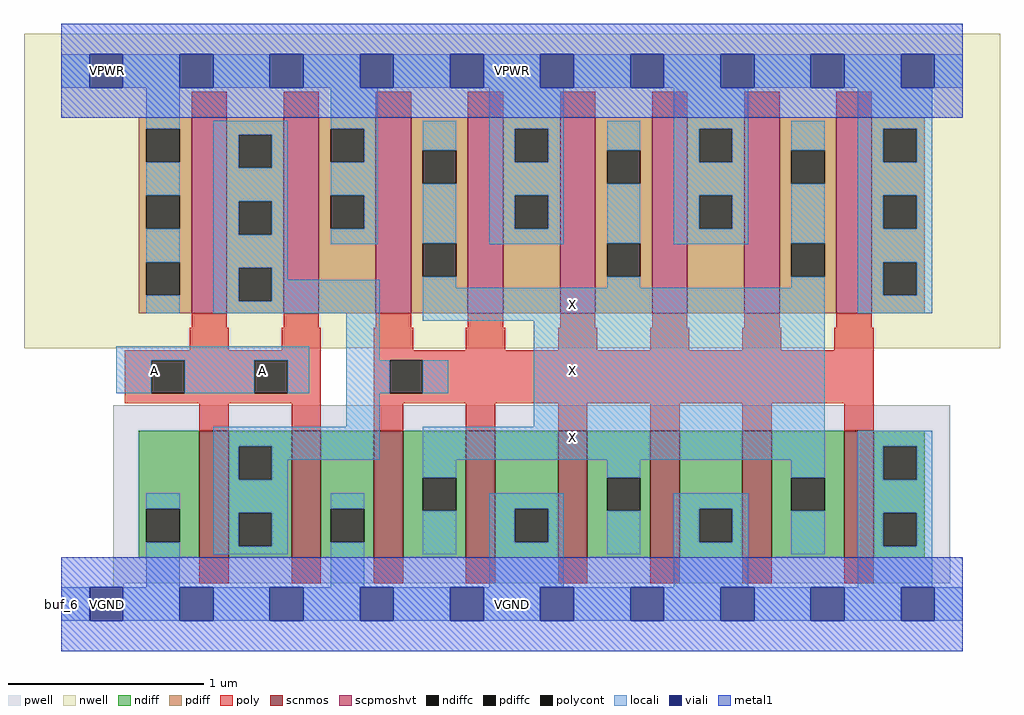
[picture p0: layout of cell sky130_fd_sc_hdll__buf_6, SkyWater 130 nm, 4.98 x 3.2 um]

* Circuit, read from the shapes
.subckt sky130_fd_sc_hdll__buf_6 A VGND VNB VPB VPWR X
XM1 n1 A VGND VNB sky130_fd_pr__nfet_01v8 w=0.65 l=0.15 m=2
XM2 X n1 VGND VNB sky130_fd_pr__nfet_01v8 w=0.65 l=0.15 m=6
XM3 n1 A VPWR VPB sky130_fd_pr__pfet_01v8_hvt w=1 l=0.18 m=2
XM4 X n1 VPWR VPB sky130_fd_pr__pfet_01v8_hvt w=1 l=0.18 m=6
.ends

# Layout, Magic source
magic
tech sky130A
magscale 1 2
<< nwell >>
rect -38 261 958 582
<< pwell >>
rect 53 21 907 203
rect 53 17 64 21
rect 30 -17 64 17
<< scnmos >>
rect 141 47 171 177
rect 235 47 265 177
rect 319 47 349 177
rect 413 47 443 177
rect 507 47 537 177
rect 601 47 631 177
rect 695 47 725 177
rect 799 47 829 177
<< scpmoshvt >>
rect 133 297 169 497
rect 227 297 263 497
rect 321 297 357 497
rect 415 297 451 497
rect 509 297 545 497
rect 603 297 639 497
rect 697 297 733 497
rect 791 297 827 497
<< ndiff >>
rect 79 97 141 177
rect 79 63 87 97
rect 121 63 141 97
rect 79 47 141 63
rect 171 161 235 177
rect 171 127 181 161
rect 215 127 235 161
rect 171 93 235 127
rect 171 59 181 93
rect 215 59 235 93
rect 171 47 235 59
rect 265 97 319 177
rect 265 63 275 97
rect 309 63 319 97
rect 265 47 319 63
rect 349 129 413 177
rect 349 95 369 129
rect 403 95 413 129
rect 349 47 413 95
rect 443 97 507 177
rect 443 63 463 97
rect 497 63 507 97
rect 443 47 507 63
rect 537 129 601 177
rect 537 95 557 129
rect 591 95 601 129
rect 537 47 601 95
rect 631 97 695 177
rect 631 63 651 97
rect 685 63 695 97
rect 631 47 695 63
rect 725 129 799 177
rect 725 95 745 129
rect 779 95 799 129
rect 725 47 799 95
rect 829 161 881 177
rect 829 127 839 161
rect 873 127 881 161
rect 829 93 881 127
rect 829 59 839 93
rect 873 59 881 93
rect 829 47 881 59
<< pdiff >>
rect 79 485 133 497
rect 79 451 87 485
rect 121 451 133 485
rect 79 417 133 451
rect 79 383 87 417
rect 121 383 133 417
rect 79 349 133 383
rect 79 315 87 349
rect 121 315 133 349
rect 79 297 133 315
rect 169 479 227 497
rect 169 445 181 479
rect 215 445 227 479
rect 169 411 227 445
rect 169 377 181 411
rect 215 377 227 411
rect 169 343 227 377
rect 169 309 181 343
rect 215 309 227 343
rect 169 297 227 309
rect 263 485 321 497
rect 263 451 275 485
rect 309 451 321 485
rect 263 417 321 451
rect 263 383 275 417
rect 309 383 321 417
rect 263 297 321 383
rect 357 463 415 497
rect 357 429 369 463
rect 403 429 415 463
rect 357 368 415 429
rect 357 334 369 368
rect 403 334 415 368
rect 357 297 415 334
rect 451 485 509 497
rect 451 451 463 485
rect 497 451 509 485
rect 451 417 509 451
rect 451 383 463 417
rect 497 383 509 417
rect 451 297 509 383
rect 545 463 603 497
rect 545 429 557 463
rect 591 429 603 463
rect 545 368 603 429
rect 545 334 557 368
rect 591 334 603 368
rect 545 297 603 334
rect 639 485 697 497
rect 639 451 651 485
rect 685 451 697 485
rect 639 417 697 451
rect 639 383 651 417
rect 685 383 697 417
rect 639 297 697 383
rect 733 463 791 497
rect 733 429 745 463
rect 779 429 791 463
rect 733 368 791 429
rect 733 334 745 368
rect 779 334 791 368
rect 733 297 791 334
rect 827 485 881 497
rect 827 451 839 485
rect 873 451 881 485
rect 827 417 881 451
rect 827 383 839 417
rect 873 383 881 417
rect 827 349 881 383
rect 827 315 839 349
rect 873 315 881 349
rect 827 297 881 315
<< ndiffc >>
rect 87 63 121 97
rect 181 127 215 161
rect 181 59 215 93
rect 275 63 309 97
rect 369 95 403 129
rect 463 63 497 97
rect 557 95 591 129
rect 651 63 685 97
rect 745 95 779 129
rect 839 127 873 161
rect 839 59 873 93
<< pdiffc >>
rect 87 451 121 485
rect 87 383 121 417
rect 87 315 121 349
rect 181 445 215 479
rect 181 377 215 411
rect 181 309 215 343
rect 275 451 309 485
rect 275 383 309 417
rect 369 429 403 463
rect 369 334 403 368
rect 463 451 497 485
rect 463 383 497 417
rect 557 429 591 463
rect 557 334 591 368
rect 651 451 685 485
rect 651 383 685 417
rect 745 429 779 463
rect 745 334 779 368
rect 839 451 873 485
rect 839 383 873 417
rect 839 315 873 349
<< poly >>
rect 133 497 169 523
rect 227 497 263 523
rect 321 497 357 523
rect 415 497 451 523
rect 509 497 545 523
rect 603 497 639 523
rect 697 497 733 523
rect 791 497 827 523
rect 133 282 169 297
rect 227 282 263 297
rect 321 282 357 297
rect 415 282 451 297
rect 509 282 545 297
rect 603 282 639 297
rect 697 282 733 297
rect 791 282 827 297
rect 131 259 171 282
rect 225 259 265 282
rect 65 249 265 259
rect 65 215 92 249
rect 126 215 197 249
rect 231 215 265 249
rect 65 205 265 215
rect 141 177 171 205
rect 235 177 265 205
rect 319 259 359 282
rect 413 259 453 282
rect 507 259 547 282
rect 601 259 641 282
rect 695 259 735 282
rect 789 259 829 282
rect 319 249 829 259
rect 319 215 335 249
rect 369 215 829 249
rect 319 205 829 215
rect 319 177 349 205
rect 413 177 443 205
rect 507 177 537 205
rect 601 177 631 205
rect 695 177 725 205
rect 799 177 829 205
rect 141 21 171 47
rect 235 21 265 47
rect 319 21 349 47
rect 413 21 443 47
rect 507 21 537 47
rect 601 21 631 47
rect 695 21 725 47
rect 799 21 829 47
<< polycont >>
rect 92 215 126 249
rect 197 215 231 249
rect 335 215 369 249
<< locali >>
rect 0 527 29 561
rect 63 527 121 561
rect 155 527 213 561
rect 247 527 305 561
rect 339 527 397 561
rect 431 527 489 561
rect 523 527 581 561
rect 615 527 673 561
rect 707 527 765 561
rect 799 527 857 561
rect 891 527 920 561
rect 87 485 121 527
rect 87 417 121 451
rect 87 349 121 383
rect 87 297 121 315
rect 155 479 231 493
rect 155 445 181 479
rect 215 445 231 479
rect 155 411 231 445
rect 155 377 181 411
rect 215 377 231 411
rect 155 343 231 377
rect 275 485 323 527
rect 309 451 323 485
rect 275 417 323 451
rect 309 383 323 417
rect 275 367 323 383
rect 369 463 403 493
rect 369 368 403 429
rect 155 309 181 343
rect 215 331 231 343
rect 437 485 513 527
rect 437 451 463 485
rect 497 451 513 485
rect 437 417 513 451
rect 437 383 463 417
rect 497 383 513 417
rect 437 367 513 383
rect 557 463 591 493
rect 557 368 591 429
rect 215 309 325 331
rect 155 297 325 309
rect 56 249 253 263
rect 56 215 92 249
rect 126 215 197 249
rect 231 215 253 249
rect 291 249 325 297
rect 369 323 403 334
rect 625 485 701 527
rect 625 451 651 485
rect 685 451 701 485
rect 625 417 701 451
rect 625 383 651 417
rect 685 383 701 417
rect 625 367 701 383
rect 745 463 779 493
rect 745 368 779 429
rect 557 323 591 334
rect 745 323 779 334
rect 369 289 779 323
rect 813 485 889 527
rect 813 451 839 485
rect 873 451 889 485
rect 813 417 889 451
rect 813 383 839 417
rect 873 383 889 417
rect 813 349 889 383
rect 813 315 839 349
rect 873 315 889 349
rect 813 297 889 315
rect 291 215 335 249
rect 369 215 395 249
rect 291 181 325 215
rect 482 181 779 289
rect 155 161 325 181
rect 155 127 181 161
rect 215 147 325 161
rect 369 147 779 181
rect 215 127 231 147
rect 87 97 121 113
rect 87 17 121 63
rect 155 93 231 127
rect 369 129 403 147
rect 155 59 181 93
rect 215 59 231 93
rect 155 51 231 59
rect 275 97 309 113
rect 275 17 309 63
rect 557 129 591 147
rect 369 51 403 95
rect 437 97 513 113
rect 437 63 463 97
rect 497 63 513 97
rect 437 17 513 63
rect 745 129 779 147
rect 557 51 591 95
rect 625 97 701 113
rect 625 63 651 97
rect 685 63 701 97
rect 625 17 701 63
rect 745 51 779 95
rect 813 161 889 177
rect 813 127 839 161
rect 873 127 889 161
rect 813 93 889 127
rect 813 59 839 93
rect 873 59 889 93
rect 813 17 889 59
rect 0 -17 29 17
rect 63 -17 121 17
rect 155 -17 213 17
rect 247 -17 305 17
rect 339 -17 397 17
rect 431 -17 489 17
rect 523 -17 581 17
rect 615 -17 673 17
rect 707 -17 765 17
rect 799 -17 857 17
rect 891 -17 920 17
<< viali >>
rect 29 527 63 561
rect 121 527 155 561
rect 213 527 247 561
rect 305 527 339 561
rect 397 527 431 561
rect 489 527 523 561
rect 581 527 615 561
rect 673 527 707 561
rect 765 527 799 561
rect 857 527 891 561
rect 29 -17 63 17
rect 121 -17 155 17
rect 213 -17 247 17
rect 305 -17 339 17
rect 397 -17 431 17
rect 489 -17 523 17
rect 581 -17 615 17
rect 673 -17 707 17
rect 765 -17 799 17
rect 857 -17 891 17
<< metal1 >>
rect 0 561 920 592
rect 0 527 29 561
rect 63 527 121 561
rect 155 527 213 561
rect 247 527 305 561
rect 339 527 397 561
rect 431 527 489 561
rect 523 527 581 561
rect 615 527 673 561
rect 707 527 765 561
rect 799 527 857 561
rect 891 527 920 561
rect 0 496 920 527
rect 0 17 920 48
rect 0 -17 29 17
rect 63 -17 121 17
rect 155 -17 213 17
rect 247 -17 305 17
rect 339 -17 397 17
rect 431 -17 489 17
rect 523 -17 581 17
rect 615 -17 673 17
rect 707 -17 765 17
rect 799 -17 857 17
rect 891 -17 920 17
rect 0 -48 920 -17
<< labels >>
flabel metal1 s 30 527 64 561 0 FreeSans 200 0 0 0 VPWR
port 5 nsew power bidirectional
flabel metal1 s 30 -17 64 17 0 FreeSans 200 0 0 0 VGND
port 2 nsew ground bidirectional
flabel locali s 505 221 539 255 0 FreeSans 200 0 0 0 X
port 6 nsew signal output
flabel locali s 505 289 539 323 0 FreeSans 200 0 0 0 X
port 6 nsew signal output
flabel locali s 505 153 539 187 0 FreeSans 200 0 0 0 X
port 6 nsew signal output
flabel locali s 30 527 64 561 0 FreeSans 200 0 0 0 VPWR
port 5 nsew power bidirectional
flabel locali s 30 -17 64 17 0 FreeSans 200 0 0 0 VGND
port 2 nsew ground bidirectional
flabel locali s 188 221 222 255 0 FreeSans 200 0 0 0 A
port 1 nsew signal input
flabel locali s 78 221 112 255 0 FreeSans 200 0 0 0 A
port 1 nsew signal input
flabel nwell s 30 527 64 561 0 FreeSans 200 0 0 0 VPB
port 4 nsew power bidirectional
flabel pwell s 30 -17 64 17 0 FreeSans 200 0 0 0 VNB
port 3 nsew ground bidirectional
rlabel comment s 0 0 0 0 4 buf_6
rlabel metal1 s 0 -48 920 48 1 VGND
port 2 nsew ground bidirectional
rlabel metal1 s 0 496 920 592 1 VPWR
port 5 nsew power bidirectional
<< properties >>
string LEFsite unithd
string LEFclass CORE
string FIXED_BBOX 0 0 920 544
string GDS_FILE $PDKPATH/libs.ref/sky130_fd_sc_hdll/gds/sky130_fd_sc_hdll.gds
string LEFsymmetry X Y R90
string GDS_END 1948500
string GDS_START 1941106
string LEFproperties maskLayoutSubType "abstract" prCellType "standard" originalViewName "layout"
<< end >>
